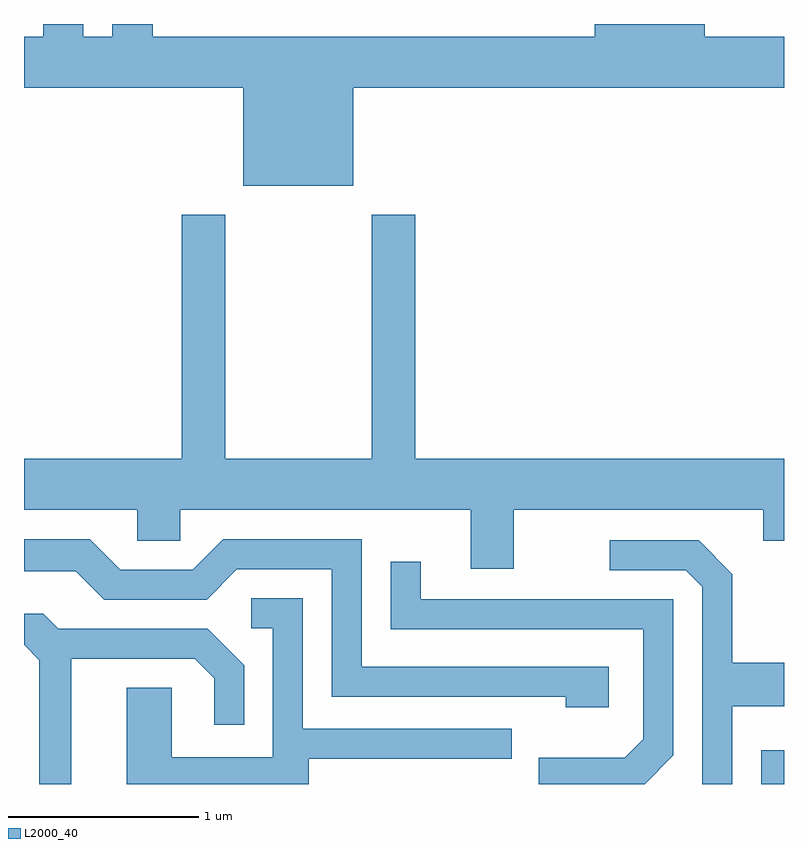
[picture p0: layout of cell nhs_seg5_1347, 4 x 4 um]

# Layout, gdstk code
import gdstk
lib = gdstk.Library(unit=1e-6, precision=1e-09)
def R(c, l, rs):  # rectangles x0, y0, x1, y1
    for r in rs: c.add(gdstk.rectangle(r[:2], r[2:], *l))
def P(c, l, *ps):  # polygons
    for p in ps: c.add(gdstk.Polygon(p, *l))
L2000_40 = (2000, 40)

nhs_seg5_1347 = lib.new_cell('nhs_seg5_1347')
R(nhs_seg5_1347, L2000_40, [(229.491,1402.072,229.611,1402.249)])
P(nhs_seg5_1347, L2000_40, [(226.289,1406.072),(226.076,1406.072),(226.076,1406.004),(225.924,1406.004),(225.924,1406.072),(225.711,1406.072),(225.711,1406.004),(225.611,1406.004),(225.611,1405.736),(226.766,1405.736),(226.766,1405.221),(227.344,1405.221),(227.344,1405.736),(229.611,1405.736),(229.611,1406.004),(229.194,1406.004),(229.194,1406.072),(228.616,1406.072),(228.616,1406.004),(226.289,1406.004)],
  [(228.189,1403.516),(229.501,1403.516),(229.501,1403.351),(229.611,1403.351),(229.611,1403.784),(227.669,1403.784),(227.669,1405.069),(227.441,1405.069),(227.441,1403.784),(226.669,1403.784),(226.669,1405.069),(226.441,1405.069),(226.441,1403.784),(225.611,1403.784),(225.611,1403.516),(226.206,1403.516),(226.206,1403.351),(226.434,1403.351),(226.434,1403.516),(227.961,1403.516),(227.961,1403.206),(228.189,1403.206)],
  [(228.689,1402.689),(227.389,1402.689),(227.389,1403.359),(226.659,1403.359),(226.499,1403.199),(226.117,1403.199),(225.957,1403.359),(225.611,1403.359),(225.611,1403.191),(225.884,1403.191),(226.034,1403.041),(226.572,1403.041),(226.732,1403.201),(227.231,1403.201),(227.231,1402.531),(228.461,1402.531),(228.461,1402.476),(228.689,1402.476)],
  [(229.339,1402.481),(229.611,1402.481),(229.611,1402.709),(229.339,1402.709),(229.339,1403.177),(229.162,1403.354),(228.693,1403.354),(228.693,1403.196),(229.094,1403.196),(229.181,1403.109),(229.181,1402.072),(229.339,1402.072)],
  [(229.029,1402.224),(229.029,1403.044),(227.699,1403.044),(227.699,1403.243),(227.541,1403.243),(227.541,1402.886),(228.871,1402.886),(228.871,1402.307),(228.774,1402.209),(228.321,1402.209),(228.321,1402.072),(228.878,1402.072)],
  [(227.109,1402.206),(228.178,1402.206),(228.178,1402.364),(227.079,1402.364),(227.079,1403.049),(226.808,1403.049),(226.808,1402.891),(226.921,1402.891),(226.921,1402.214),(226.389,1402.214),(226.389,1402.579),(226.151,1402.579),(226.151,1402.072),(227.109,1402.072)],
  [(225.859,1402.731),(226.509,1402.731),(226.611,1402.629),(226.611,1402.383),(226.769,1402.383),(226.769,1402.697),(226.577,1402.889),(225.792,1402.889),(225.712,1402.969),(225.611,1402.969),(225.611,1402.804),(225.691,1402.724),(225.691,1402.072),(225.859,1402.072)])

lib.write_gds('nhs_seg5_1347.gds')
